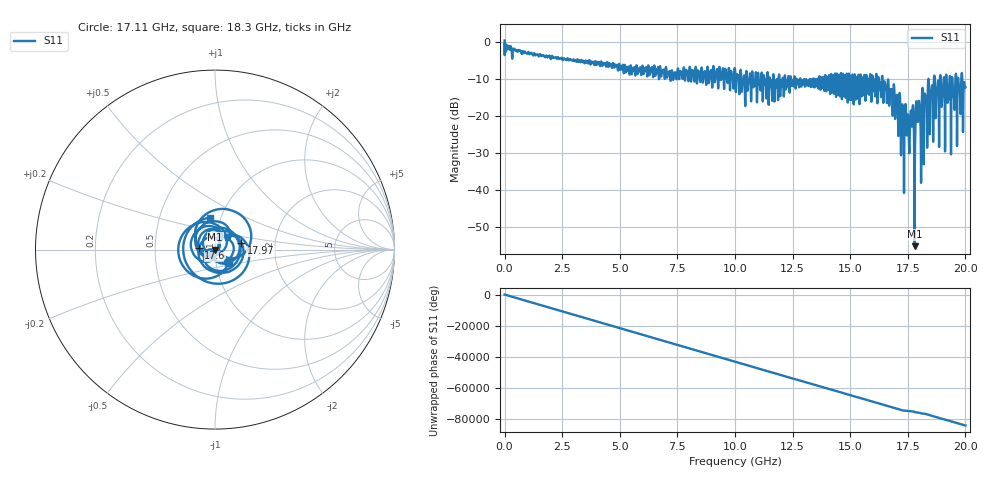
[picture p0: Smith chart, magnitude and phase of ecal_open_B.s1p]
! MS46122B
! 2250307/22442219
! 7/22/2025 3:14:42 PM
! C:\USERS\SPARKY\DOCUMENTS\VNA_DATA\JULY22_2025\295\ECAL_OPEN_B.S1P
! CHANNEL.1
! TR.MEASUREMENT
! RAW.DATA
# GHZ S RI R 50.0
! FREQ.GHZ  S11RE  S11IM
!; PortSelection: Port_1
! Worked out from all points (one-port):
!   10001 points, 1 MHz to 20 GHz, reference 50 ohm
!   lowest |S11| = -55.2 dB at 17.79 GHz (marker M1), VSWR 1.00, Z = 50.2 + j0.0497 ohm
!   |S11| at or under -10 dB: 12.84 GHz to 13.4 GHz (563.9 MHz wide, 4.3 % of centre); 16.4 GHz to 18.39 GHz (1.99 GHz wide, 11.4 % of centre); 18.4 GHz to 18.64 GHz (236.2 MHz wide, 1.28 % of centre) (the widest 3 of 89)
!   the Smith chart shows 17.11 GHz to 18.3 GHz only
!   S11 on the Smith chart (normalised r, x): 17.11 GHz: 1.15, -0.17; 17.6 GHz: 0.83, +0.01; 17.97 GHz: 1.34, +0.10; 18.3 GHz: 0.89, +0.33
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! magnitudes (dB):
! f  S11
! 1 MHz  0.4
! 2.501 GHz  -4.5
! 5.001 GHz  -7.0
! 7.501 GHz  -8.0
! 10 GHz  -7.4
! 11.54 GHz  -12.1
! 12.5 GHz  -10.3
! 15 GHz  -11.4
! 16.31 GHz  -11.2
! 17.11 GHz  -19.7
! 17.21 GHz  -26.3
! 17.27 GHz  -17.1
! 17.5 GHz  -19.6
! 17.6 GHz  -20.8
! 17.67 GHz  -22.9
! 17.73 GHz  -17.2
! 17.79 GHz  -55.2
! 17.97 GHz  -16.4
! 18.12 GHz  -14.6
! 18.2 GHz  -27.5
! 18.27 GHz  -14.9
! 18.3 GHz  -14.9
! 18.73 GHz  -15.4
! 18.78 GHz  -12.6
! 18.99 GHz  -15.3
! 19.45 GHz  -12.3
! 19.51 GHz  -15.0
! 20 GHz  -12.2
